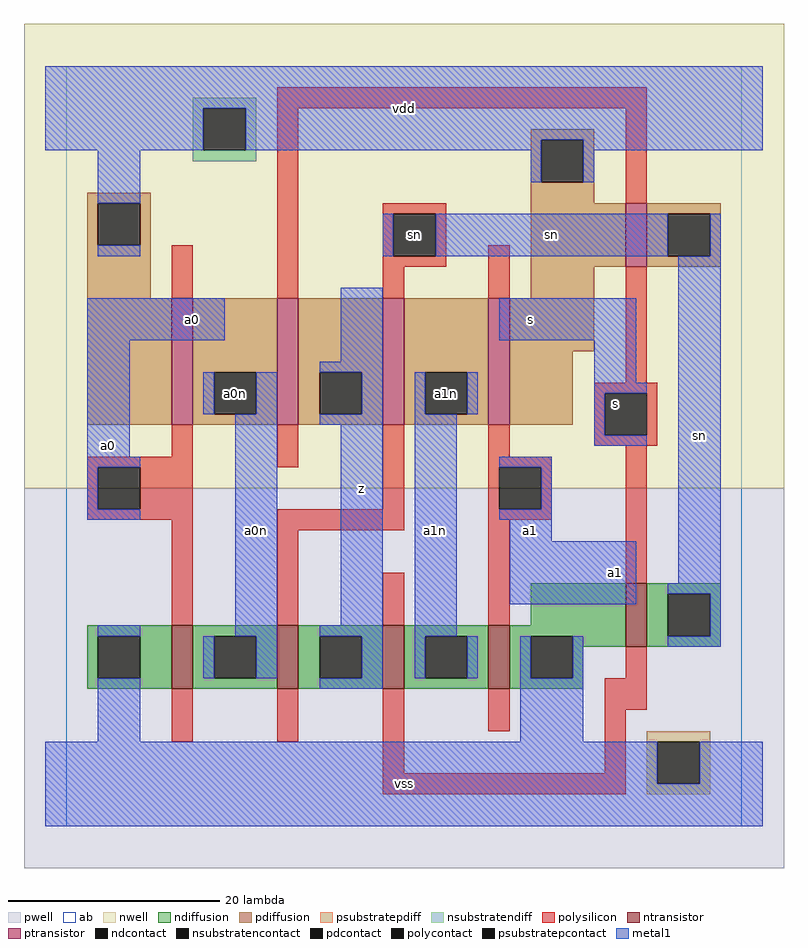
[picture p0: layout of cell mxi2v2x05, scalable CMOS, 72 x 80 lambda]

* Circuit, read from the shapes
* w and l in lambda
.subckt mxi2v2x05 a0 a0n a1 a1n s sn vdd vss z
M1 a0n a0 vss vss nfet w=6 l=2
M2 z sn a0n vss nfet w=6 l=2
M3 a1n s z vss nfet w=6 l=2
M4 vss a1 a1n vss nfet w=6 l=2
M5 sn s vss vss nfet w=6 l=2
M6 a0n a0 vdd vdd pfet w=12 l=2
M7 z s a0n vdd pfet w=12 l=2
M8 a1n sn z vdd pfet w=12 l=2
M9 vdd a1 a1n vdd pfet w=12 l=2
M10 sn s vdd vdd pfet w=6 l=2
.ends

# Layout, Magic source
magic
tech scmos
<< ab >>
rect 0 0 64 72
<< pwell >>
rect -4 -4 68 32
<< nwell >>
rect -4 32 68 76
<< polysilicon >>
rect 20 68 55 70
rect 10 50 12 55
rect 20 50 22 68
rect 53 59 55 68
rect 30 58 36 59
rect 30 54 31 58
rect 35 54 36 58
rect 30 53 36 54
rect 30 50 32 53
rect 40 50 42 55
rect 53 42 55 53
rect 50 41 56 42
rect 10 35 12 38
rect 2 34 12 35
rect 20 34 22 38
rect 2 30 3 34
rect 7 30 12 34
rect 30 30 32 38
rect 2 29 12 30
rect 10 19 12 29
rect 20 28 32 30
rect 40 35 42 38
rect 50 37 51 41
rect 55 37 56 41
rect 50 36 56 37
rect 40 34 46 35
rect 40 30 41 34
rect 45 30 46 34
rect 40 29 46 30
rect 20 19 22 28
rect 30 19 32 24
rect 40 19 42 29
rect 53 23 55 36
rect 53 14 55 17
rect 10 8 12 13
rect 20 8 22 13
rect 30 5 32 13
rect 40 9 42 13
rect 51 11 55 14
rect 51 5 53 11
rect 30 3 53 5
<< ndiffusion >>
rect 44 19 53 23
rect 2 18 10 19
rect 2 14 3 18
rect 7 14 10 18
rect 2 13 10 14
rect 12 18 20 19
rect 12 14 14 18
rect 18 14 20 18
rect 12 13 20 14
rect 22 18 30 19
rect 22 14 24 18
rect 28 14 30 18
rect 22 13 30 14
rect 32 18 40 19
rect 32 14 34 18
rect 38 14 40 18
rect 32 13 40 14
rect 42 18 53 19
rect 42 14 44 18
rect 48 17 53 18
rect 55 22 62 23
rect 55 18 57 22
rect 61 18 62 22
rect 55 17 62 18
rect 48 14 49 17
rect 42 13 49 14
<< pdiffusion >>
rect 2 59 8 60
rect 2 55 3 59
rect 7 55 8 59
rect 2 50 8 55
rect 44 65 50 66
rect 44 61 45 65
rect 49 61 50 65
rect 44 59 50 61
rect 44 53 53 59
rect 55 58 62 59
rect 55 54 57 58
rect 61 54 62 58
rect 55 53 62 54
rect 44 50 50 53
rect 2 38 10 50
rect 12 43 20 50
rect 12 39 14 43
rect 18 39 20 43
rect 12 38 20 39
rect 22 43 30 50
rect 22 39 24 43
rect 28 39 30 43
rect 22 38 30 39
rect 32 43 40 50
rect 32 39 34 43
rect 38 39 40 43
rect 32 38 40 39
rect 42 45 50 50
rect 42 38 48 45
<< metal1 >>
rect -2 68 66 72
rect -2 64 13 68
rect 17 65 66 68
rect 17 64 45 65
rect 3 59 7 64
rect 44 61 45 64
rect 49 64 66 65
rect 49 61 50 64
rect 3 54 7 55
rect 30 54 31 58
rect 35 54 57 58
rect 61 54 62 58
rect 2 46 15 50
rect 2 35 6 46
rect 26 44 30 51
rect 41 46 54 50
rect 24 43 30 44
rect 13 39 14 43
rect 18 39 20 43
rect 2 34 7 35
rect 2 30 3 34
rect 2 29 7 30
rect 3 18 7 19
rect 16 18 20 39
rect 28 39 30 43
rect 24 38 30 39
rect 26 19 30 38
rect 13 14 14 18
rect 18 14 20 18
rect 24 18 30 19
rect 28 14 30 18
rect 33 39 34 43
rect 38 39 39 43
rect 50 42 54 46
rect 50 41 55 42
rect 33 18 37 39
rect 50 37 51 41
rect 50 36 55 37
rect 41 34 46 35
rect 45 30 46 34
rect 41 29 46 30
rect 42 27 46 29
rect 42 21 54 27
rect 58 23 62 54
rect 57 22 62 23
rect 61 18 62 22
rect 33 14 34 18
rect 38 14 39 18
rect 43 14 44 18
rect 48 14 49 18
rect 57 17 62 18
rect 3 8 7 14
rect 24 13 30 14
rect 43 8 49 14
rect -2 4 56 8
rect 60 4 66 8
rect -2 0 66 4
<< ntransistor >>
rect 10 13 12 19
rect 20 13 22 19
rect 30 13 32 19
rect 40 13 42 19
rect 53 17 55 23
<< ptransistor >>
rect 53 53 55 59
rect 10 38 12 50
rect 20 38 22 50
rect 30 38 32 50
rect 40 38 42 50
<< polycontact >>
rect 31 54 35 58
rect 3 30 7 34
rect 51 37 55 41
rect 41 30 45 34
<< ndcontact >>
rect 3 14 7 18
rect 14 14 18 18
rect 24 14 28 18
rect 34 14 38 18
rect 44 14 48 18
rect 57 18 61 22
<< pdcontact >>
rect 3 55 7 59
rect 45 61 49 65
rect 57 54 61 58
rect 14 39 18 43
rect 24 39 28 43
rect 34 39 38 43
<< psubstratepcontact >>
rect 56 4 60 8
<< nsubstratencontact >>
rect 13 64 17 68
<< psubstratepdiff >>
rect 55 8 61 9
rect 55 4 56 8
rect 60 4 61 8
rect 55 3 61 4
<< nsubstratendiff >>
rect 12 68 18 69
rect 12 64 13 68
rect 17 64 18 68
rect 12 63 18 64
<< labels >>
rlabel polycontact 33 56 33 56 6 sn
rlabel metal1 4 36 4 36 6 a0
rlabel metal1 12 48 12 48 6 a0
rlabel metal1 28 32 28 32 6 z
rlabel metal1 18 28 18 28 6 a0n
rlabel pdcontact 16 41 16 41 6 a0n
rlabel metal1 32 4 32 4 6 vss
rlabel metal1 44 28 44 28 6 a1
rlabel metal1 35 28 35 28 6 a1n
rlabel pdcontact 36 41 36 41 6 a1n
rlabel metal1 44 48 44 48 6 s
rlabel metal1 32 68 32 68 6 vdd
rlabel metal1 52 24 52 24 6 a1
rlabel polycontact 52 40 52 40 6 s
rlabel metal1 46 56 46 56 6 sn
rlabel metal1 60 37 60 37 6 sn
<< end >>
